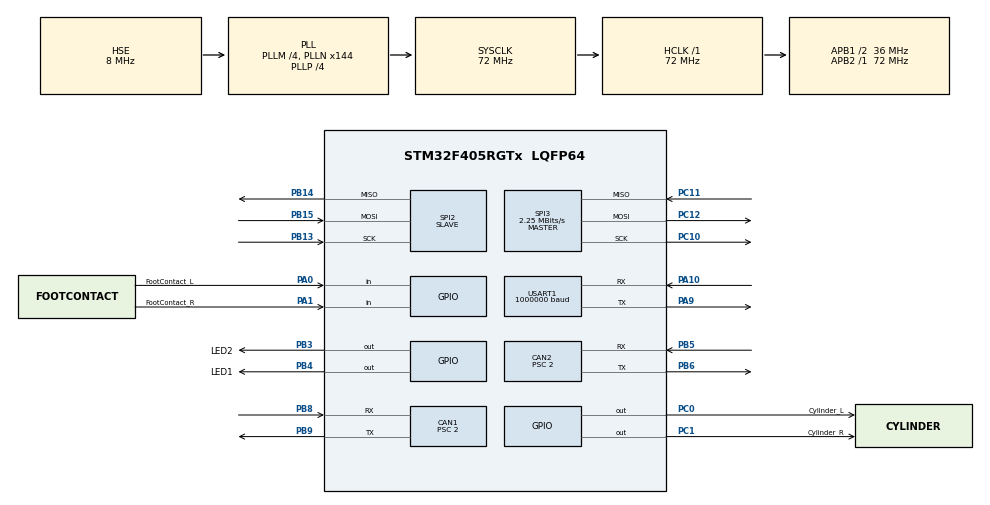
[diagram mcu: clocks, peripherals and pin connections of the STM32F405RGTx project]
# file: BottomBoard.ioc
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CAN1.BS1=CAN_BS1_9TQ
CAN1.BS2=CAN_BS2_8TQ
CAN1.CalculateBaudRate=1000000
CAN1.CalculateTimeBit=1000
CAN1.CalculateTimeQuantum=55.55555555555556
CAN1.Prescaler=2
CAN2.BS1=CAN_BS1_9TQ
CAN2.BS2=CAN_BS2_8TQ
CAN2.CalculateBaudRate=1000000
CAN2.CalculateTimeBit=1000
CAN2.CalculateTimeQuantum=55.55555555555556
CAN2.Prescaler=2
Dma.Request0=USART1_TX
Dma.Request1=USART1_RX
Dma.USART1_RX.1.Direction=DMA_PERIPH_TO_MEMORY
Dma.USART1_RX.1.FIFOMode=DMA_FIFOMODE_DISABLE
Dma.USART1_RX.1.Instance=DMA2_Stream2
Dma.USART1_RX.1.MemDataAlignment=DMA_MDATAALIGN_BYTE
Dma.USART1_RX.1.MemInc=DMA_MINC_ENABLE
Dma.USART1_RX.1.Mode=DMA_NORMAL
Dma.USART1_RX.1.PeriphDataAlignment=DMA_PDATAALIGN_BYTE
Dma.USART1_RX.1.PeriphInc=DMA_PINC_DISABLE
Dma.USART1_RX.1.Priority=DMA_PRIORITY_MEDIUM
Dma.USART1_TX.0.Direction=DMA_MEMORY_TO_PERIPH
Dma.USART1_TX.0.FIFOMode=DMA_FIFOMODE_DISABLE
Dma.USART1_TX.0.Instance=DMA2_Stream7
Dma.USART1_TX.0.MemDataAlignment=DMA_MDATAALIGN_BYTE
Dma.USART1_TX.0.MemInc=DMA_MINC_ENABLE
Dma.USART1_TX.0.Mode=DMA_NORMAL
Dma.USART1_TX.0.PeriphDataAlignment=DMA_PDATAALIGN_BYTE
Dma.USART1_TX.0.PeriphInc=DMA_PINC_DISABLE
Dma.USART1_TX.0.Priority=DMA_PRIORITY_MEDIUM
Mcu.Family=STM32F4
Mcu.Name=STM32F405RGTx
Mcu.Package=LQFP64
NVIC.CAN1_RX0_IRQn=true\:6\:0\:true\:false\:true\:true\:true\:true
NVIC.CAN1_RX1_IRQn=true\:6\:0\:true\:false\:true\:true\:true\:true
NVIC.CAN2_RX0_IRQn=true\:6\:0\:true\:false\:true\:true\:true\:true
NVIC.CAN2_RX1_IRQn=true\:6\:0\:true\:false\:true\:true\:true\:true
NVIC.DMA2_Stream2_IRQn=true\:6\:0\:true\:false\:true\:false\:true\:true
NVIC.DMA2_Stream7_IRQn=true\:6\:0\:true\:false\:true\:false\:true\:true
NVIC.PriorityGroup=NVIC_PRIORITYGROUP_4
NVIC.SPI2_IRQn=true\:6\:0\:true\:false\:true\:true\:true\:true
NVIC.TIM1_TRG_COM_TIM11_IRQn=true\:0\:0\:false\:false\:true\:true\:true\:true
NVIC.TIM1_UP_TIM10_IRQn=true\:15\:0\:true\:false\:true\:false\:true\:true
NVIC.TimeBase=TIM1_UP_TIM10_IRQn
NVIC.TimeBaseIP=TIM1
NVIC.USART1_IRQn=true\:10\:0\:true\:false\:true\:true\:true\:true
PA0-WKUP.GPIO_Label=FootContact_L
PA0-WKUP.GPIO_PuPd=GPIO_PULLUP
PA0-WKUP.Signal=GPIO_Input
PA1.GPIO_Label=FootContact_R
PA1.GPIO_PuPd=GPIO_PULLUP
PA1.Signal=GPIO_Input
PA10.Mode=Asynchronous
PA10.Signal=USART1_RX
PA13.Mode=Serial_Wire
PA13.Signal=SYS_JTMS-SWDIO
PA14.Mode=Serial_Wire
PA14.Signal=SYS_JTCK-SWCLK
PA9.Mode=Asynchronous
PA9.Signal=USART1_TX
PB13.Mode=Full_Duplex_Slave
PB13.Signal=SPI2_SCK
PB14.Mode=Full_Duplex_Slave
PB14.Signal=SPI2_MISO
PB15.Mode=Full_Duplex_Slave
PB15.Signal=SPI2_MOSI
PB3.GPIO_Label=LED2
PB3.Signal=GPIO_Output
PB4.GPIO_Label=LED1
PB4.Signal=GPIO_Output
PB5.Mode=CAN_Activate
PB5.Signal=CAN2_RX
PB6.Mode=CAN_Activate
PB6.Signal=CAN2_TX
PB8.Mode=CAN_Activate
PB8.Signal=CAN1_RX
PB9.Mode=CAN_Activate
PB9.Signal=CAN1_TX
PC0.GPIO_Label=Cylinder_L
PC0.Signal=GPIO_Output
PC1.GPIO_Label=Cylinder_R
PC1.Signal=GPIO_Output
PC10.Mode=Full_Duplex_Master
PC10.Signal=SPI3_SCK
PC11.Mode=Full_Duplex_Master
PC11.Signal=SPI3_MISO
PC12.Mode=Full_Duplex_Master
PC12.Signal=SPI3_MOSI
PH0-OSC_IN.Mode=HSE-External-Oscillator
PH0-OSC_IN.Signal=RCC_OSC_IN
PH1-OSC_OUT.Mode=HSE-External-Oscillator
PH1-OSC_OUT.Signal=RCC_OSC_OUT
ProjectManager.HeapSize=0x200
ProjectManager.StackSize=0x400
ProjectManager.TargetToolchain=STM32CubeIDE
RCC.48MHZClocksFreq_Value=72000000
RCC.AHBFreq_Value=72000000
RCC.APB1CLKDivider=RCC_HCLK_DIV2
RCC.APB1Freq_Value=36000000
RCC.APB1TimFreq_Value=72000000
RCC.APB2Freq_Value=72000000
RCC.APB2TimFreq_Value=72000000
RCC.CortexFreq_Value=72000000
RCC.HCLKFreq_Value=72000000
RCC.HSE_VALUE=8000000
RCC.HSI_VALUE=16000000
RCC.LSE_VALUE=32768
RCC.PLLM=4
RCC.PLLN=144
RCC.PLLP=RCC_PLLP_DIV4
RCC.PLLSourceVirtual=RCC_PLLSOURCE_HSE
RCC.SYSCLKFreq_VALUE=72000000
RCC.SYSCLKSource=RCC_SYSCLKSOURCE_PLLCLK
RCC.VCOOutputFreq_Value=288000000
SPI2.CLKPhase=SPI_PHASE_2EDGE
SPI2.Direction=SPI_DIRECTION_2LINES
SPI2.Mode=SPI_MODE_SLAVE
SPI2.VirtualType=VM_SLAVE
SPI3.BaudRatePrescaler=SPI_BAUDRATEPRESCALER_16
SPI3.CalculateBaudRate=2.25 MBits/s
SPI3.Direction=SPI_DIRECTION_2LINES
SPI3.Mode=SPI_MODE_MASTER
SPI3.VirtualType=VM_MASTER
TIM11.Period=499
TIM11.Prescaler=71
USART1.BaudRate=1000000
USART1.VirtualMode=VM_ASYNC
VP_SYS_VS_tim1.Mode=TIM1
VP_TIM11_VS_ClockSourceINT.Mode=Enable_Timer
board=custom

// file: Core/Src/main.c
/* USER CODE BEGIN Header */
/**
  ******************************************************************************
  * @file           : main.c
  * @brief          : Main program body
  ******************************************************************************
  * @attention
  *
  * Copyright (c) 2023 STMicroelectronics.
  * All rights reserved.
  *
  * This software is licensed under terms that can be found in the LICENSE file
  * in the root directory of this software component.
  * If no LICENSE file comes with this software, it is provided AS-IS.
  *
  ******************************************************************************
  */
/* USER CODE END Header */
#include "main.h"
#include "can.h"
#include "dma.h"
#include "spi.h"
#include "tim.h"
#include "usart.h"
#include "gpio.h"

/* USER CODE BEGIN PV */
uint32_t sys_time;
uint8_t contact[2] = {0,0};
/* USER CODE END PV */

void SystemClock_Config(void);

/* USER CODE BEGIN 0 */
void DmaPrintf(const char *format,...)
{
	uint16_t len;
	va_list args;
	va_start(args,format);
	len = vsnprintf((char*)USART1_TX_BUF,sizeof(USART1_TX_BUF)+1,(char*)format,args);
	va_end(args);
	HAL_UART_Transmit_DMA(&huart1, USART1_TX_BUF, len);
}
void Myprintf(const char *format,...){
	uint16_t len;
	va_list args;
	uint8_t TX_BUF[1000] = {0};
	va_start(args,format);
	len = vsnprintf((char*)TX_BUF,sizeof(TX_BUF)+1,(char*)format,args);
	va_end(args);
	HAL_UART_Transmit(&huart1, TX_BUF, len, 0xff);
}

void absoluteWait(uint32_t startTime, uint32_t waitTime){
    if(sys_time - startTime > waitTime){
    	Myprintf("[WARNING] The program has already cost %f us",(sys_time - startTime)/2.0);
    }
    while(sys_time - startTime < waitTime){
    }
}

/* USER CODE END 0 */

int main(void)
{

  /* MCU Configuration--------------------------------------------------------*/

  /* Reset of all peripherals, Initializes the Flash interface and the Systick. */
  HAL_Init();

  /* Configure the system clock */
  SystemClock_Config();

  /* Initialize all configured peripherals */
  MX_GPIO_Init();
  MX_DMA_Init();
  MX_CAN1_Init();
  MX_CAN2_Init();
  MX_SPI2_Init();
  MX_SPI3_Init();
  MX_USART1_UART_Init();
  MX_TIM11_Init();
  /* USER CODE BEGIN 2 */
  HAL_UART_Receive_DMA(&huart1,USART1_RX_TEMP, sizeof(USART1_RX_TEMP));
//  motor_test();
  motor_init();
  HAL_TIM_Base_Start_IT(&htim11);

	int led_cnt = 0;
	int led_flag = 0;
	uint32_t startTime;
	uint32_t cycleTime = 0;

  /* USER CODE END 2 */

  /* Infinite loop */
  /* USER CODE BEGIN WHILE */
  while (1)
  {
	startTime = sys_time;
	//LED Task
	if(led_cnt<100)  led_cnt++;
	else{
		led_flag=!led_flag;
		led_cnt = 0;
	}
	LEDRGB_RED(led_flag);
	LEDRGB_BLUE(!led_flag);
	getFootContact(contact);

	//SPI_Task
	SPI_Task(1);
	//state_passive();

	//CAN Task
	motor_control(1);
//	motor_settau(0, motor[0].t_ff);

	//UART Task
	UART_MyTask(1);

//	HAL_Delay(cycleTime);
//	absoluteWait(startTime,cycleTime*2);

  }

    /* USER CODE END WHILE */

}

void SystemClock_Config(void)
{
  RCC_OscInitTypeDef RCC_OscInitStruct = {0};
  RCC_ClkInitTypeDef RCC_ClkInitStruct = {0};

  /** Configure the main internal regulator output voltage
  */
  __HAL_RCC_PWR_CLK_ENABLE();
  __HAL_PWR_VOLTAGESCALING_CONFIG(PWR_REGULATOR_VOLTAGE_SCALE1);

  /** Initializes the RCC Oscillators according to the specified parameters
  * in the RCC_OscInitTypeDef structure.
  */
  RCC_OscInitStruct.OscillatorType = RCC_OSCILLATORTYPE_HSE;
  RCC_OscInitStruct.HSEState = RCC_HSE_ON;
  RCC_OscInitStruct.PLL.PLLState = RCC_PLL_ON;
  RCC_OscInitStruct.PLL.PLLSource = RCC_PLLSOURCE_HSE;
  RCC_OscInitStruct.PLL.PLLM = 4;
  RCC_OscInitStruct.PLL.PLLN = 144;
  RCC_OscInitStruct.PLL.PLLP = RCC_PLLP_DIV4;
  RCC_OscInitStruct.PLL.PLLQ = 4;
  if (HAL_RCC_OscConfig(&RCC_OscInitStruct) != HAL_OK)
  {
    Error_Handler();
  }

  /** Initializes the CPU, AHB and APB buses clocks
  */
  RCC_ClkInitStruct.ClockType = RCC_CLOCKTYPE_HCLK|RCC_CLOCKTYPE_SYSCLK
                              |RCC_CLOCKTYPE_PCLK1|RCC_CLOCKTYPE_PCLK2;
  RCC_ClkInitStruct.SYSCLKSource = RCC_SYSCLKSOURCE_PLLCLK;
  RCC_ClkInitStruct.AHBCLKDivider = RCC_SYSCLK_DIV1;
  RCC_ClkInitStruct.APB1CLKDivider = RCC_HCLK_DIV2;
  RCC_ClkInitStruct.APB2CLKDivider = RCC_HCLK_DIV1;

  if (HAL_RCC_ClockConfig(&RCC_ClkInitStruct, FLASH_LATENCY_2) != HAL_OK)
  {
    Error_Handler();
  }
}

void HAL_TIM_PeriodElapsedCallback(TIM_HandleTypeDef *htim)
{
  if (htim->Instance == TIM1) {
    HAL_IncTick();
  }
  /* USER CODE BEGIN Callback 1 */
  if(htim->Instance == TIM11)  //
	{
		//10us timer accumulate
		sys_time ++;

	}
  /* USER CODE END Callback 1 */
}

void Error_Handler(void)
{
  __disable_irq();
  while (1)
  {
  }
}
